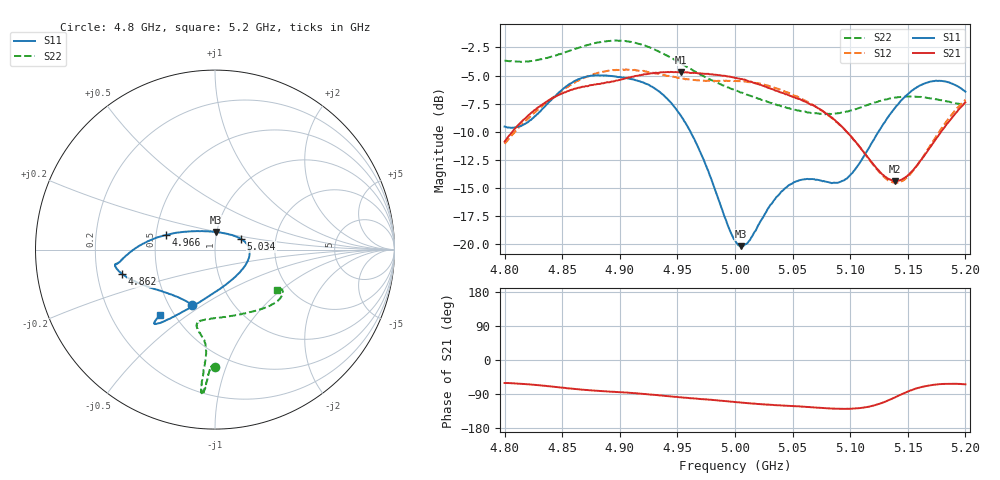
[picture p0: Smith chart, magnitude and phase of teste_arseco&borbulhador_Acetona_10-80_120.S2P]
! Network Analyzer HP8722D
! Hewlett-Packard
! Data name: Linha & Wilkinson
! Saver's name: Rodrigo Anjos
! Comments: Teste da utilização de aquisição
! continua pelo VNA HP8722D
! Time and date: 17/4/2025 15:21
!  Frequency  S11  S21  S12  S22
# HZ  S  MA R 50
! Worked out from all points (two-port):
!   401 points, 4.8 GHz to 5.2 GHz, reference 50 ohm
!   highest |S21| = -4.67 dB at 4.953 GHz (marker M1); lowest = -14.4 dB at 5.139 GHz (marker M2)
!   |S21| within 3 dB of the highest: 4.831 GHz to 5.068 GHz (236.8 MHz wide, 4.78 % of centre); 5.197467 GHz to end of sweep
!   lowest |S11| = -20.2 dB at 5.005 GHz (marker M3), VSWR 1.22, Z = 49.7 + j9.8 ohm
!   |S11| at or under -10 dB: 4.961 GHz to 5.125 GHz (163.3 MHz wide, 3.24 % of centre)
!   |S22| runs from -8.4 to -1.9 dB; largest |S21 - S12| = 0.88
!   S11 on the Smith chart (normalised r, x): 4.8 GHz: 0.65, -0.45; 4.862 GHz: 0.31, -0.12; 4.966 GHz: 0.57, +0.10; 5.034 GHz: 1.33, +0.16; 5.2 GHz: 0.42, -0.40
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4.8e9  0.3331 -113.0  0.2854 -60.7  0.2796 -174.8  0.6562 -89.9
4.819e9  0.3461 -132.8  0.3671 -63.8  0.3562 -173.3  0.6504 -91.4
4.862e9  0.5353 -165.3  0.4925 -76.7  0.5287 -176.4  0.742 -93.6
4.867e9  0.5486 -167.2  0.5005 -78.3  0.5439 -177.5  0.757 -93.8
4.9e9  0.5542 -171.9  0.5379 -84.9  0.5966 175.9  0.8036 -95.2
4.934e9  0.478 -177.8  0.5789 -93.3  0.5724 172.1  0.7179 -95.6
4.953e9  0.3722 172.6  0.5839 -98.4  0.546 172.7  0.6367 -95.0
4.966e9  0.2832 163.1  0.577 -101.7  0.5361 174.0  0.5829 -94.8
5e9  0.1041 103.3  0.5487 -111.0  0.5323 176.5  0.4842 -99.1
5.005e9  0.09784 86.1  0.5421 -112.4  0.5302 176.5  0.4723 -100.1
5.013e9  0.1042 60.5  0.5289 -114.5  0.5249 176.0  0.4577 -101.9
5.034e9  0.157 22.1  0.4852 -119.0  0.4963 175.0  0.4199 -103.3
5.049e9  0.1851 6.6  0.4541 -121.4  0.4654 174.4  0.3987 -100.0
5.067e9  0.1947 -12.5  0.4163 -124.8  0.4178 173.8  0.3828 -91.0
5.086e9  0.1876 -42.5  0.3583 -128.2  0.3558 173.6  0.3805 -76.7
5.097e9  0.1954 -65.2  0.3162 -128.9  0.3156 174.4  0.3892 -67.5
5.134e9  0.3746 -115.9  0.1943 -105.2  0.1906 -158.2  0.4438 -42.9
5.139e9  0.4049 -118.8  0.1908 -98.2  0.1877 -150.3  0.4488 -40.8
5.151e9  0.4692 -124.0  0.204 -82.1  0.202 -131.5  0.4537 -36.3
5.17e9  0.5286 -128.4  0.2717 -66.5  0.2774 -112.6  0.445 -31.8
5.184e9  0.527 -129.8  0.343 -62.9  0.354 -107.0  0.4313 -30.8
5.2e9  0.4766 -130.2  0.4268 -64.2  0.4394 -106.1  0.4149 -33.2
